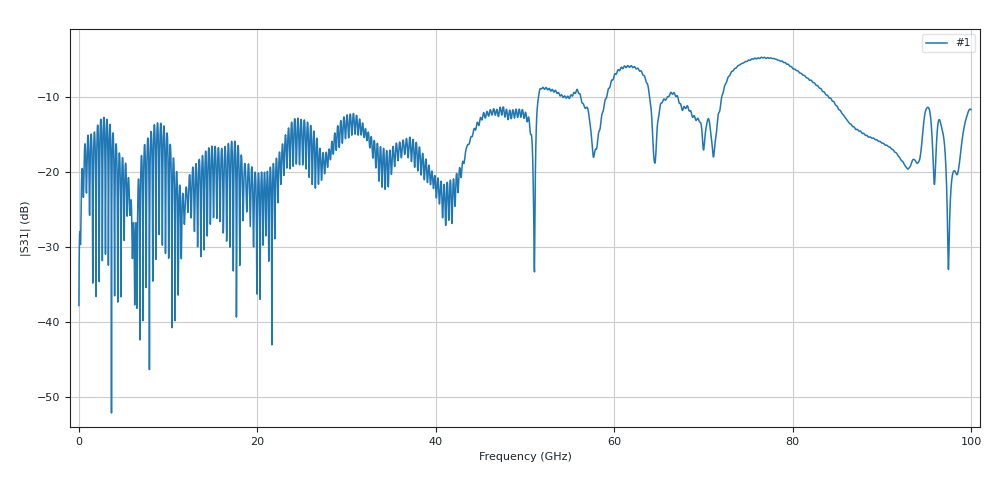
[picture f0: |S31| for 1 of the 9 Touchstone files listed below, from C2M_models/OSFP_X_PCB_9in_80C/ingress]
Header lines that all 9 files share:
# GHz S RI R 45
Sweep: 25 MHz to 100 GHz
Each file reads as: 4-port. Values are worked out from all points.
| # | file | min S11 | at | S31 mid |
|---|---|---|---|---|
| 1 | C2M_X_OSFP224_9in_host_PCB_80C_FEXT_TP4a_Rx1_to_TP5_Rx8.s4p | -44.6 dB | 16.15 GHz | -12.1 dB at 50.02 GHz |
| 2 | C2M_X_OSFP224_9in_host_PCB_80C_FEXT_TP4a_Rx2_to_TP5_Rx8.s4p | -44.6 dB | 16.15 GHz | -12.1 dB at 50.02 GHz |
| 3 | C2M_X_OSFP224_9in_host_PCB_80C_FEXT_TP4a_Rx3_to_TP5_Rx8.s4p | -44.6 dB | 16.15 GHz | -12.1 dB at 50.02 GHz |
| 4 | C2M_X_OSFP224_9in_host_PCB_80C_FEXT_TP4a_Rx4_to_TP5_Rx8.s4p | -44.6 dB | 16.15 GHz | -12.1 dB at 50.02 GHz |
| 5 | C2M_X_OSFP224_9in_host_PCB_80C_FEXT_TP4a_Rx5_to_TP5_Rx8.s4p | -44.6 dB | 16.15 GHz | -12.1 dB at 50.02 GHz |
| 6 | C2M_X_OSFP224_9in_host_PCB_80C_FEXT_TP4a_Rx6_to_TP5_Rx8.s4p | -44.6 dB | 16.15 GHz | -12.1 dB at 50.02 GHz |
| 7 | C2M_X_OSFP224_9in_host_PCB_80C_FEXT_TP4a_Rx7_to_TP5_Rx8.s4p | -44.6 dB | 16.15 GHz | -12.1 dB at 50.02 GHz |
| 8 | C2M_X_OSFP224_9in_host_PCB_80C_NEXT_TP5_Tx1_to_TP5_Rx8.s4p | -44.6 dB | 16.15 GHz | -12.1 dB at 50.02 GHz |
| 9 | C2M_X_OSFP224_9in_host_PCB_80C_NEXT_TP5_Tx2_to_TP5_Rx8.s4p | -44.6 dB | 16.15 GHz | -12.1 dB at 50.02 GHz |
